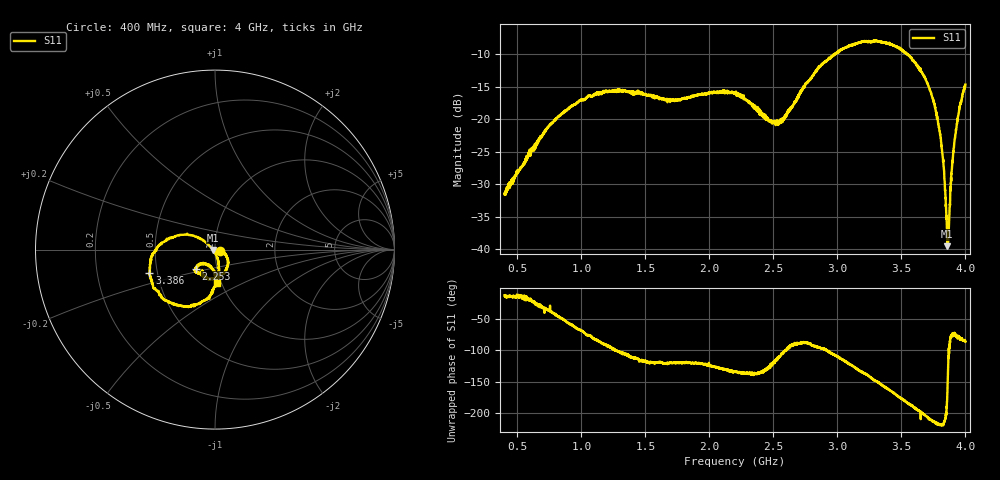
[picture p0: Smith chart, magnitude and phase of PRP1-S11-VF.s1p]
! Version 1.0
! Name  :	PRP1-S11-VF.s1p
! Measurement : [new]
! Date  :	01-10-24 16:33:13
! Generated by:	MiQVNA
# HZ S RI R 50
! Freq	ReS11	ImS11
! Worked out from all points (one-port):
!   3601 points, 400 MHz to 4 GHz, reference 50 ohm
!   lowest |S11| = -39.6 dB at 3.859 GHz (marker M1), VSWR 1.02, Z = 49 - j0.183 ohm
!   |S11| at or under -10 dB: start of sweep to 2.978 GHz; 3.54662 GHz to 3.548973 GHz (2.352 MHz wide, 0.0663 % of centre); 3.55 GHz to end of sweep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
!   S11 on the Smith chart (normalised r, x): 400 MHz: 1.05, -0.01; 2.253 GHz: 0.79, -0.17; 3.386 GHz: 0.45, -0.14; 4 GHz: 0.96, -0.37
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4e8  0.0261 -0.00553
7.28e8  0.0688 -0.0478
8.5e8  0.0725 -0.0835
1.055e9  0.0386 -0.1471
1.3e9  -0.0336 -0.1662
1.75e9  -0.0691 -0.1216
2.2e9  -0.112 -0.1153
2.253e9  -0.1056 -0.1063
2.503e9  -0.0471 -0.0852
2.573e9  -0.026 -0.096
2.65e9  -0.00211 -0.1253
2.864e9  -0.0254 -0.2515
3.1e9  -0.1959 -0.3113
3.221e9  -0.2899 -0.2707
3.386e9  -0.3657 -0.1303
3.55e9  -0.3169 0.02
3.677e9  -0.1986 0.0824
3.763e9  -0.0999 0.0708
3.791e9  -0.0704 0.0539
3.816e9  -0.0465 0.0366
3.832e9  -0.034 0.0236
3.851e9  -0.0171 0.00583
3.859e9  -0.0104 -0.00187
3.873e9  -0.00416 -0.0157
3.899e9  0.0098 -0.0452
3.926e9  0.0176 -0.0814
3.965e9  0.0197 -0.1366
4e9  0.0126 -0.1843
